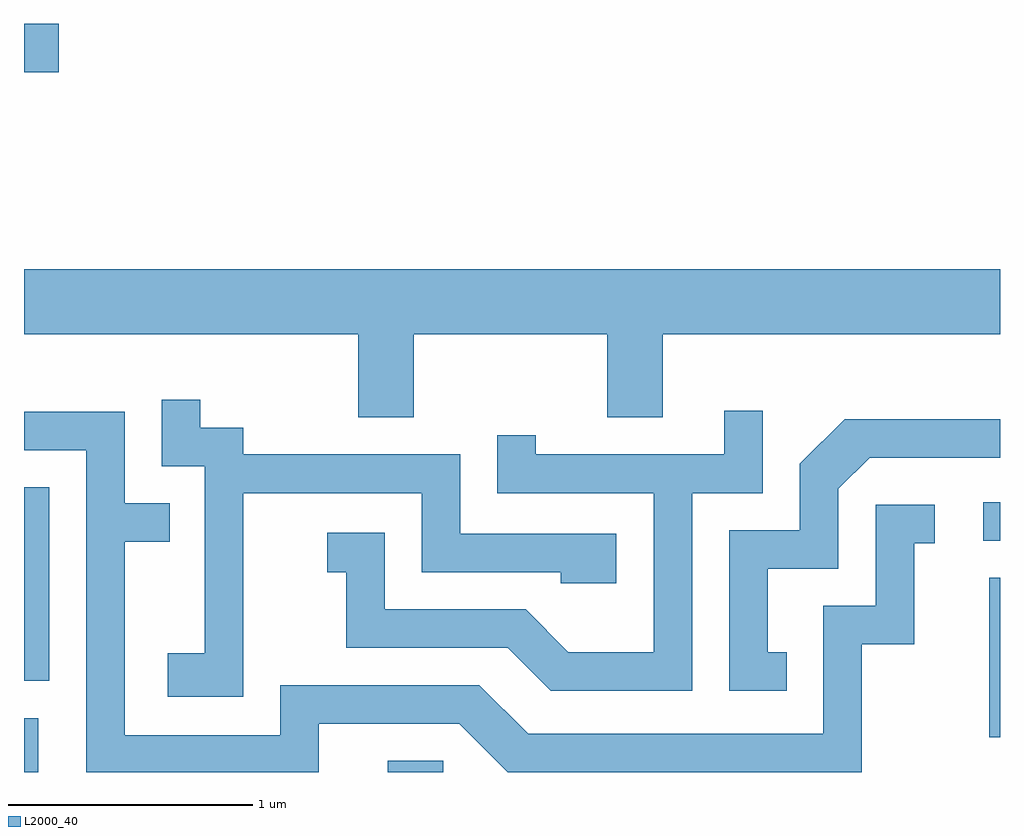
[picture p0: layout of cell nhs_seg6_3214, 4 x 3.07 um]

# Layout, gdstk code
import gdstk
lib = gdstk.Library(unit=1e-6, precision=1e-09)
def R(c, l, rs):  # rectangles x0, y0, x1, y1
    for r in rs: c.add(gdstk.rectangle(r[:2], r[2:], *l))
def P(c, l, *ps):  # polygons
    for p in ps: c.add(gdstk.Polygon(p, *l))
L2000_40 = (2000, 40)

nhs_seg6_3214 = lib.new_cell('nhs_seg6_3214')
R(nhs_seg6_3214, L2000_40, [(281.611,1628.162,281.669,1628.384), (283.101,1628.162,283.329,1628.209), (285.566,1628.306,285.611,1628.959), (281.611,1628.536,281.714,1629.329), (285.543,1629.111,285.611,1629.269), (281.611,1631.031,281.754,1631.229)])
P(nhs_seg6_3214, L2000_40, [(283.209,1629.956),(284.001,1629.956),(284.001,1629.616),(284.229,1629.616),(284.229,1629.956),(285.611,1629.956),(285.611,1630.224),(281.611,1630.224),(281.611,1629.956),(282.981,1629.956),(282.981,1629.616),(283.209,1629.616)],
  [(282.509,1629.306),(283.241,1629.306),(283.241,1628.981),(283.811,1628.981),(283.811,1628.936),(284.039,1628.936),(284.039,1629.139),(283.399,1629.139),(283.399,1629.464),(282.509,1629.464),(282.509,1629.574),(282.334,1629.574),(282.334,1629.688),(282.176,1629.688),(282.176,1629.416),(282.351,1629.416),(282.351,1628.649),(282.201,1628.649),(282.201,1628.471),(282.509,1628.471)],
  [(284.349,1629.306),(284.639,1629.306),(284.639,1629.643),(284.481,1629.643),(284.481,1629.464),(283.709,1629.464),(283.709,1629.543),(283.551,1629.543),(283.551,1629.306),(284.191,1629.306),(284.191,1628.654),(283.842,1628.654),(283.667,1628.829),(283.089,1628.829),(283.089,1629.144),(282.853,1629.144),(282.853,1628.981),(282.931,1628.981),(282.931,1628.671),(283.594,1628.671),(283.769,1628.496),(284.349,1628.496)],
  [(282.819,1628.361),(283.394,1628.361),(283.593,1628.162),(285.044,1628.162),(285.044,1628.686),(285.259,1628.686),(285.259,1629.101),(285.343,1629.101),(285.343,1629.259),(285.101,1629.259),(285.101,1628.844),(284.886,1628.844),(284.886,1628.319),(283.677,1628.319),(283.477,1628.519),(282.661,1628.519),(282.661,1628.314),(282.024,1628.314),(282.024,1629.106),(282.208,1629.106),(282.208,1629.264),(282.024,1629.264),(282.024,1629.639),(281.611,1629.639),(281.611,1629.481),(281.866,1629.481),(281.866,1628.162),(282.819,1628.162)],
  [(284.738,1628.654),(284.659,1628.654),(284.659,1628.996),(284.949,1628.996),(284.949,1629.324),(285.077,1629.451),(285.611,1629.451),(285.611,1629.609),(284.974,1629.609),(284.791,1629.427),(284.791,1629.154),(284.501,1629.154),(284.501,1628.496),(284.738,1628.496)])

lib.write_gds('nhs_seg6_3214.gds')
